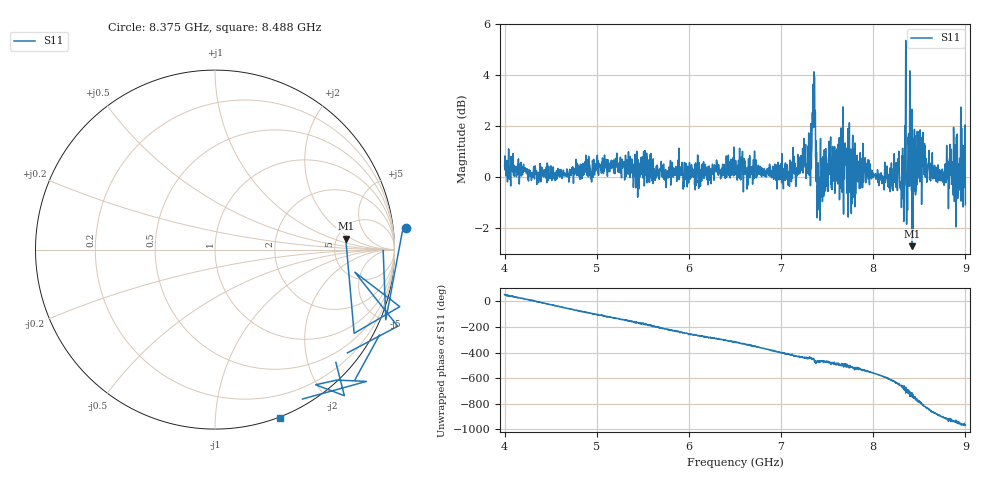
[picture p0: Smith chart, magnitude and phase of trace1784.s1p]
! Created with skrf 1.8.0 (http://scikit-rf.org).
# Hz S RI R 50.0
!freq ReS11 ImS11
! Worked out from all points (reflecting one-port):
!   1601 points, 4 GHz to 9 GHz, reference 50 ohm
!   lowest |S11| = -2.7 dB at 8.422 GHz (marker M1), VSWR 6.43, Z = 301 + j77.8 ohm
!   phase of S11 starts at 54 deg and turns -1021 deg over the sweep
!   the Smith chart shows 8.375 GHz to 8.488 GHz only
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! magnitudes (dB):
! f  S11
! 4 GHz  0.4
! 4.625 GHz  -0.1
! 5.25 GHz  0.3
! 5.875 GHz  0.2
! 6.5 GHz  0.1
! 7.125 GHz  0.6
! 7.297 GHz  0.7
! 7.35 GHz  1.9
! 7.362 GHz  3.9
! 7.397 GHz  -1.3
! 7.412 GHz  0.0
! 7.512 GHz  0.0
! 7.591 GHz  1.0
! 7.647 GHz  1.1
! 7.75 GHz  -0.6
! 8.097 GHz  0.1
! 8.253 GHz  -0.2
! 8.312 GHz  0.8
! 8.328 GHz  0.8
! 8.347 GHz  0.0
! 8.375 GHz  0.6
! 8.422 GHz  -2.7
! 8.447 GHz  1.9
! 8.459 GHz  -0.7
! 8.497 GHz  1.0
! 8.747 GHz  0.2
! 8.972 GHz  0.2
! 9 GHz  -1.1
